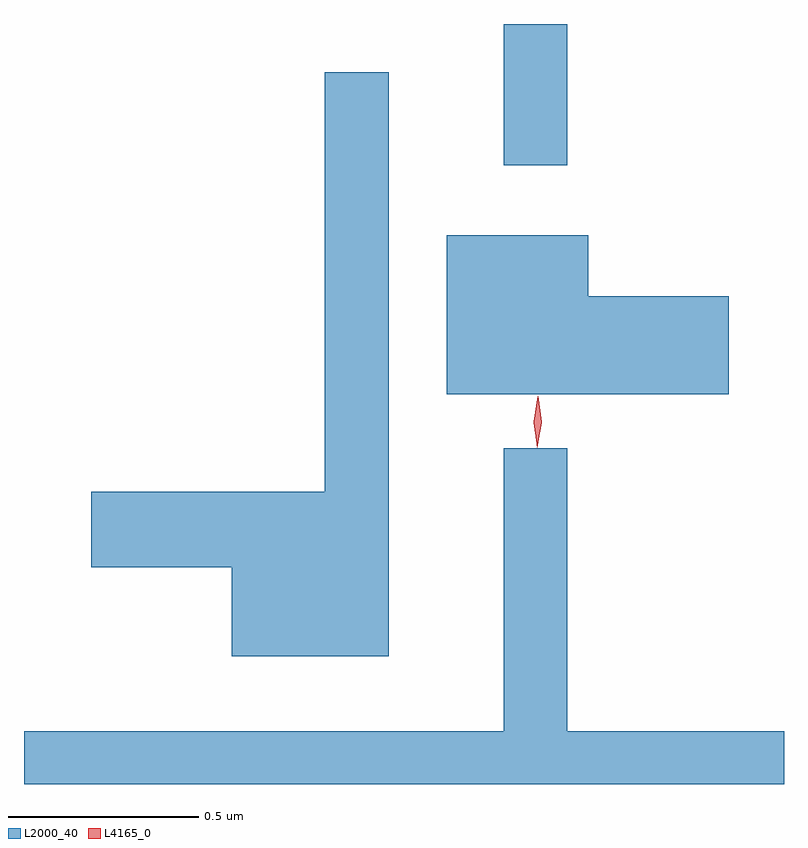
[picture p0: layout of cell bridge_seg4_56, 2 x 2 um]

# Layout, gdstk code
import gdstk
lib = gdstk.Library(unit=1e-6, precision=1e-09)
def R(c, l, rs):  # rectangles x0, y0, x1, y1
    for r in rs: c.add(gdstk.rectangle(r[:2], r[2:], *l))
def P(c, l, *ps):  # polygons
    for p in ps: c.add(gdstk.Polygon(p, *l))
L2000_40 = (2000, 40)
L4165_0 = (4165, 0)

bridge_seg4_56 = lib.new_cell('bridge_seg4_56')
R(bridge_seg4_56, L2000_40, [(1296.411,1329.793,1296.579,1330.165)])
P(bridge_seg4_56, L2000_40, [(1296.109,1330.038),(1295.941,1330.038),(1295.941,1328.934),(1295.326,1328.934),(1295.326,1328.736),(1295.696,1328.736),(1295.696,1328.501),(1296.109,1328.501)],
  [(1297.004,1329.449),(1296.634,1329.449),(1296.634,1329.609),(1296.261,1329.609),(1296.261,1329.191),(1297.004,1329.191)],
  [(1297.149,1328.304),(1296.579,1328.304),(1296.579,1329.048),(1296.411,1329.048),(1296.411,1328.304),(1295.149,1328.304),(1295.149,1328.165),(1297.149,1328.165)])
P(bridge_seg4_56, L4165_0, [(1296.5,1329.053),(1296.5,1329.053),(1296.491,1329.116),(1296.501,1329.179),(1296.502,1329.18),(1296.502,1329.179),(1296.511,1329.116),(1296.5,1329.053)],
  [(1296.5,1329.05),(1296.5,1329.05),(1296.491,1329.118),(1296.501,1329.186),(1296.502,1329.186),(1296.502,1329.186),(1296.511,1329.118),(1296.5,1329.05)])

lib.write_gds('bridge_seg4_56.gds')
